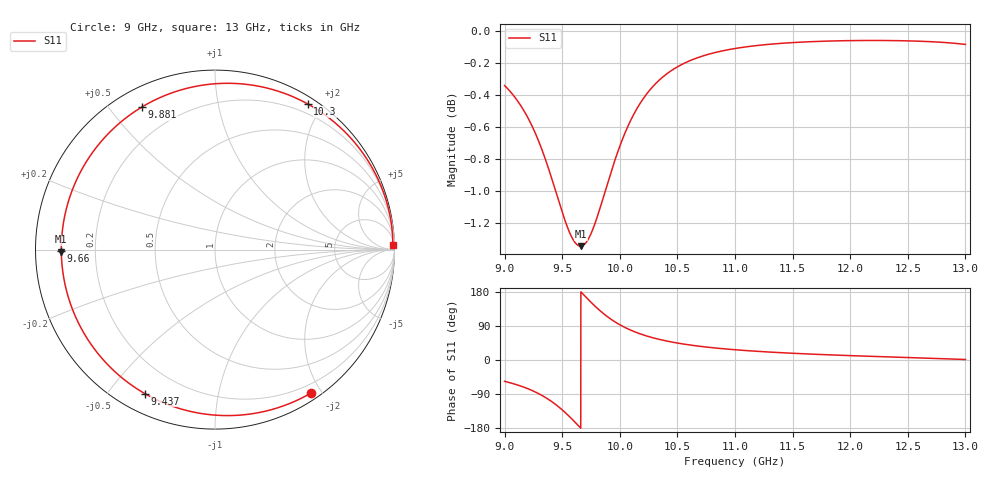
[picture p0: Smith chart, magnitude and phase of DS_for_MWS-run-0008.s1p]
! TOUCHSTONE file generated by CST DESIGN STUDIO
! Date and time: Tue Feb  4 18:42:43 2025
! Project name: C:\Work\MatlabApps\UnitCellOptimizationMatlab\CST\unitcell.cst
! Tree item: Tasks\Sweep1\SPara1\S-Parameters
! Header version: 2024
! Port assignment regex: !\s*Touchstone port\s*([0-9]+)\s*=\s*(CST MWS port|CST DES external port|CST DES block port)\s*(.+)\s* \(\"(.*)\"\)(\s*mode\s*([0-9]+))?.*
! Touchstone port assignment:
! Touchstone port 1 = CST DES external port 1 ("")
# GHz S MA R 50
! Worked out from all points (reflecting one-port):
!   4001 points, 9 GHz to 13 GHz, reference 50 ohm
!   lowest |S11| = -1.3 dB at 9.659 GHz (marker M1), VSWR 12.92, Z = 3.87 - j0.36 ohm
!   phase of S11 starts at -56 deg and turns -302 deg over the sweep
!   S11 on the Smith chart (normalised r, x): 9 GHz: 0.09, -1.86; 9.437 GHz: 0.08, -0.62; 9.66 GHz: 0.08, -0.00; 9.881 GHz: 0.08, +0.61; 10.3 GHz: 0.08, +1.82; 13 GHz: 29, +72
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9  0.9615 -56.3
9.111  0.9511 -65.8
9.222  0.9364 -78.3
9.341  0.9145 -96.5
9.391  0.9034 -106.0
9.437  0.8925 -116.0
9.5  0.8777 -131.6
9.542  0.8688 -143.2
9.586  0.8615 -156.2
9.623  0.8577 -167.7
9.659  0.8564 -179.2
9.66  0.8564 -179.5
9.706  0.8585 165.9
9.754  0.8648 151.1
9.818  0.8778 132.9
9.881  0.8929 117.0
9.938  0.9067 104.6
10  0.9203 93.1
10.071  0.9338 82.0
10.143  0.9448 72.8
10.301  0.962 57.5
10.5  0.9745 44.7
10.719  0.9822 35.3
11  0.9875 27.1
11.5  0.9917 17.7
12  0.9931 11.5
12.5  0.9929 6.5
13  0.9904 1.4
